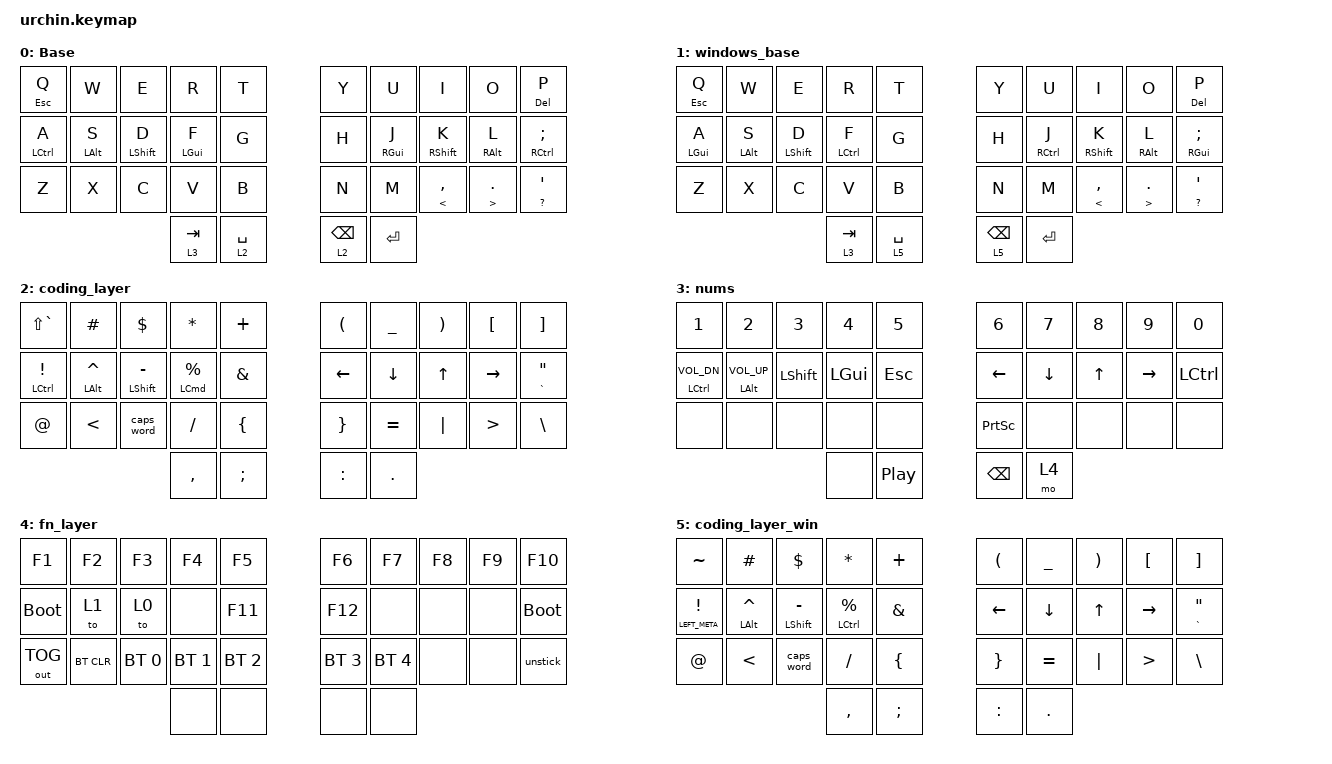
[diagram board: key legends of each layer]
/*
 * Copyright (c) 2020 duckyb
 *
 * SPDX-License-Identifier: MIT
 */

#include <behaviors.dtsi>
#include <dt-bindings/zmk/bt.h>
#include <dt-bindings/zmk/keys.h>
#include <dt-bindings/zmk/outputs.h>

// Layer definitions

#define BASE 0
#define SYM 1
#define EXT 2
#define FNC 3
#define SYM2 4
#define ACCENT 5
#define SETTINGS 6

// -----------------

&sk {
    // don't release mods on other mods presses

    ignore-modifiers;
};

/ {
    behaviors {
        // Enables holding the first mod-tap key
        // by performing a tap-release-hold sequence.
        // To use it: "&qt KEYCODE1 KEYCODE2"

        qt: quick_tap {
            compatible = "zmk,behavior-hold-tap";
            label = "QUICK_TAP";
            #binding-cells = <2>;
            flavor = "tap-preferred";
            tapping-term-ms = <200>;
            quick-tap-ms = <200>;
            bindings = <&kp>, <&kp>;
        };

        lqt: lqt {
            compatible = "zmk,behavior-hold-tap";
            label = "Layer Quick Tap";
            bindings = <&mo>, <&kp>;

            #binding-cells = <2>;
            quick-tap-ms = <200>;
            tapping-term-ms = <200>;
        };

        dtdq: dtd {
            compatible = "zmk,behavior-tap-dance";
            label = "Double Tap Q/ESC";
            #binding-cells = <0>;
            bindings = <&kp Q>, <&kp ESCAPE>;

            tapping-term-ms = <200>;
        };

        hrm: hrm {
            compatible = "zmk,behavior-hold-tap";
            label = "Homerow Mod";
            bindings = <&kp>, <&kp>;

            #binding-cells = <2>;
            tapping-term-ms = <250>;
            flavor = "tap-preferred";
        };
    };

    macros {
        // sometimes my device thinks a modifier is being held down
        // pressing all modifiers fixes it.

        unstick: unstick {
            label = "ZM_unstick";
            compatible = "zmk,behavior-macro";
            #binding-cells = <0>;
            bindings = <&kp LSHIFT &kp RSHIFT &kp LCTRL &kp RCTRL &kp LALT &kp RALT &kp LGUI &kp RGUI>;
        };
    };

    combos { compatible = "zmk,combos"; };

    keymap {
        compatible = "zmk,keymap";

        // Base alpha layer

        default_layer {
            label = "Base";
            bindings = <
  &qt ESC Q     &kp W        &kp E         &kp R        &kp T           &kp Y             &kp U        &kp I                &kp O                    &qt DEL P
  &hrm LCTRL A  &hrm LALT S  &hrm LSHFT D  &hrm LGUI F  &kp G           &kp H             &hrm RGUI J  &hrm RSHIFT K        &hrm RALT L              &hrm RCTRL SEMICOLON
  &kp Z         &kp X        &kp C         &kp V        &kp B           &kp N             &kp M        &qt LESS_THAN COMMA  &qt GREATER_THAN PERIOD  &qt QUESTION SINGLE_QUOTE
                                           &lqt 3 TAB   &lqt 2 SPACE    &lqt 2 BACKSPACE  &kp ENTER
            >;
        };

        windows_default {
            label = "windows_base";
            bindings = <
  &qt ESC Q    &kp W        &kp E         &kp R         &kp T           &kp Y             &kp U         &kp I                &kp O                    &qt DEL P
  &hrm LGUI A  &hrm LALT S  &hrm LSHFT D  &hrm LCTRL F  &kp G           &kp H             &hrm RCTRL J  &hrm RSHIFT K        &hrm RALT L              &hrm RGUI SEMICOLON
  &kp Z        &kp X        &kp C         &kp V         &kp B           &kp N             &kp M         &qt LESS_THAN COMMA  &qt GREATER_THAN PERIOD  &qt QUESTION SINGLE_QUOTE
                                          &lqt 3 TAB    &lqt 5 SPACE    &lqt 5 BACKSPACE  &kp ENTER
            >;
        };

        coding_layer {
            bindings = <
  &kp LS(GRAVE)           &kp HASH             &kp DOLLAR        &kp ASTERISK       &kp PLUS          &kp LEFT_PARENTHESIS  &kp UNDERSCORE  &kp RIGHT_PARENTHESIS  &kp LEFT_BRACKET  &kp RIGHT_BRACKET
  &hrm LCTRL EXCLAMATION  &hrm LEFT_ALT CARET  &hrm LSHFT MINUS  &hrm LCMD PERCENT  &kp AMPERSAND     &kp LEFT_ARROW        &kp DOWN_ARROW  &kp UP_ARROW           &kp RIGHT         &qt GRAVE DOUBLE_QUOTES
  &kp AT_SIGN             &kp LESS_THAN        &caps_word        &kp SLASH          &kp LEFT_BRACE    &kp RIGHT_BRACE       &kp EQUAL       &kp PIPE               &kp GREATER_THAN  &kp BSLH
                                                                 &kp COMMA          &kp SEMICOLON     &kp COLON             &kp PERIOD
            >;
        };

        nums {
            bindings = <
  &kp NUMBER_1         &kp NUMBER_2           &kp N3     &kp N4    &kp N5              &kp N6           &kp N7    &kp N8  &kp N9     &kp N0
  &hrm LCTRL C_VOL_DN  &hrm LALT C_VOLUME_UP  &kp LSHFT  &kp LGUI  &kp ESC             &kp LEFT         &kp DOWN  &kp UP  &kp RIGHT  &kp LCTRL
  &none                &none                  &none      &none     &none               &kp PRINTSCREEN  &none     &none   &none      &none
                                                         &none     &kp C_PLAY_PAUSE    &kp BACKSPACE    &mo 4
            >;
        };

        fn_layer {
            bindings = <
  &kp F1        &kp F2      &kp F3        &kp F4        &kp F5          &kp F6        &kp F7        &kp F8  &kp F9  &kp F10
  &bootloader   &to 1       &to 0         &none         &kp F11         &kp F12       &none         &none   &none   &bootloader
  &out OUT_TOG  &bt BT_CLR  &bt BT_SEL 0  &bt BT_SEL 1  &bt BT_SEL 2    &bt BT_SEL 3  &bt BT_SEL 4  &none   &none   &unstick
                                          &none         &none           &none         &none
            >;
        };

        coding_layer_win {
            bindings = <
  &kp TILDE                   &kp HASH             &kp DOLLAR        &kp ASTERISK        &kp PLUS          &kp LEFT_PARENTHESIS  &kp UNDERSCORE  &kp RIGHT_PARENTHESIS  &kp LEFT_BRACKET  &kp RIGHT_BRACKET
  &hrm LEFT_META EXCLAMATION  &hrm LEFT_ALT CARET  &hrm LSHFT MINUS  &hrm LCTRL PERCENT  &kp AMPERSAND     &kp LEFT_ARROW        &kp DOWN_ARROW  &kp UP_ARROW           &kp RIGHT         &qt GRAVE DOUBLE_QUOTES
  &kp AT_SIGN                 &kp LESS_THAN        &caps_word        &kp SLASH           &kp LEFT_BRACE    &kp RIGHT_BRACE       &kp EQUAL       &kp PIPE               &kp GREATER_THAN  &kp BSLH
                                                                     &kp COMMA           &kp SEMICOLON     &kp COLON             &kp PERIOD
            >;
        };
    };
};
